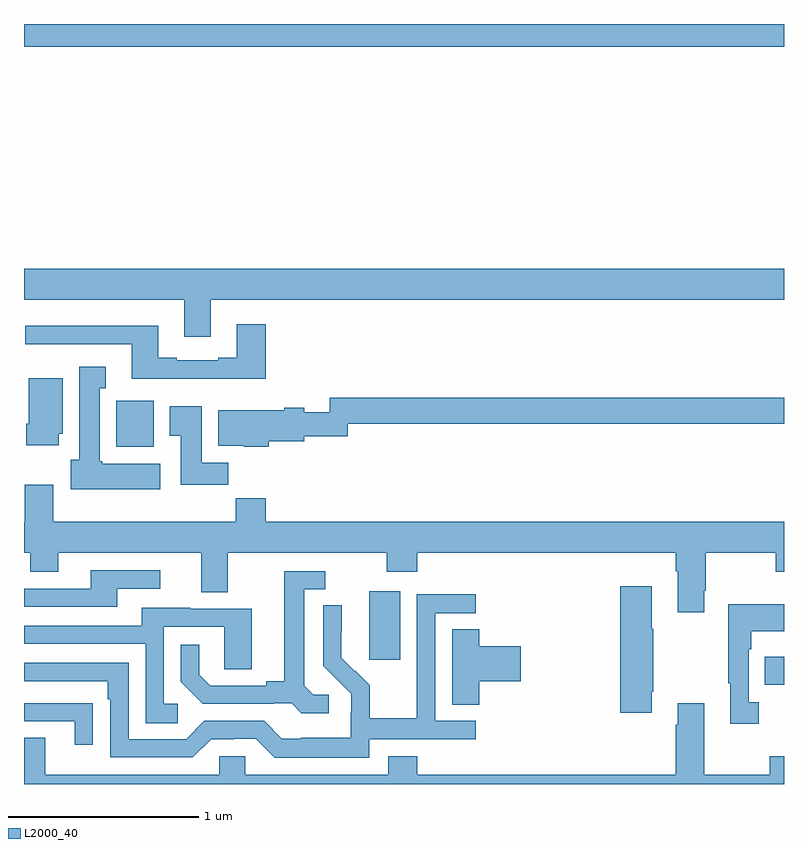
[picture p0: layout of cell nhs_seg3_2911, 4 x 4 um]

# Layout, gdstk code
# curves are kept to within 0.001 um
import gdstk
lib = gdstk.Library(unit=1e-6, precision=1e-09)
def R(c, l, rs):  # rectangles x0, y0, x1, y1
    for r in rs: c.add(gdstk.rectangle(r[:2], r[2:], *l))
def P(c, l, *ps):  # polygons
    for p in ps: c.add(gdstk.Polygon(p, *l))
L2000_40 = (2000, 40)

nhs_seg3_2911 = lib.new_cell('nhs_seg3_2911')
R(nhs_seg3_2911, L2000_40, [(266.899,666.922,267,667.069), (264.818,667.053,264.979,667.414), (263.486,668.174,263.683,668.416), (263,670.28,267,670.4)])
P(nhs_seg3_2911, L2000_40, [(263.983,668.948),(267,668.948),(267,669.112),(263,669.112),(263,668.948),(263.843,668.948),(263.843,668.754),(263.983,668.754)],
  [(264.272,668.821),(264.119,668.821),(264.119,668.644),(264.023,668.644),(264.023,668.631),(263.803,668.631),(263.803,668.644),(263.707,668.644),(263.707,668.812),(263.007,668.812),(263.007,668.715),(263.567,668.715),(263.567,668.534),(264.272,668.534)],
  [(263.716,668.086),(263.412,668.086),(263.412,668.1),(263.398,668.1),(263.398,668.483),(263.431,668.483),(263.431,668.596),(263.291,668.596),(263.291,668.106),(263.246,668.106),(263.246,667.952),(263.716,667.952)],
  [(263.182,668.244),(263.203,668.244),(263.203,668.536),(263.024,668.536),(263.024,668.296),(263.012,668.296),(263.012,668.184),(263.182,668.184)],
  [(264.287,668.203),(264.475,668.203),(264.475,668.229),(264.705,668.229),(264.705,668.296),(267,668.296),(267,668.432),(264.609,668.432),(264.609,668.357),(264.475,668.357),(264.475,668.381),(264.371,668.381),(264.371,668.368),(264.023,668.368),(264.023,668.18),(264.156,668.18),(264.156,668.174),(264.287,668.174)],
  [(264.074,668.092),(263.935,668.092),(263.935,668.389),(263.768,668.389),(263.768,668.233),(263.825,668.233),(263.825,667.974),(264.074,667.974)],
  [(266.581,667.417),(266.589,667.417),(266.589,667.616),(266.956,667.616),(266.956,667.517),(267,667.517),(267,667.78),(264.272,667.78),(264.272,667.904),(264.115,667.904),(264.115,667.78),(263.155,667.78),(263.155,667.975),(263.003,667.975),(263.003,667.78),(263,667.78),(263,667.616),(263.032,667.616),(263.032,667.517),(263.179,667.517),(263.179,667.616),(263.933,667.616),(263.933,667.408),(264.073,667.408),(264.073,667.616),(264.91,667.616),(264.91,667.517),(265.07,667.517),(265.07,667.616),(266.429,667.616),(266.429,667.52),(266.441,667.52),(266.441,667.305),(266.581,667.305)],
  [(263.491,667.428),(263.716,667.428),(263.716,667.524),(263.351,667.524),(263.351,667.428),(263,667.428),(263,667.332),(263.491,667.332)],
  [(264.604,666.87),(264.522,666.87),(264.475,666.917),(264.475,667.425),(264.586,667.425),(264.586,667.521),(264.371,667.521),(264.371,666.941),(264.275,666.941),(264.275,666.918),(263.98,666.918),(263.923,666.975),(263.923,667.132),(263.826,667.132),(263.826,666.938),(263.942,666.822),(264.314,666.822),(264.314,666.825),(264.408,666.825),(264.46,666.773),(264.604,666.773)],
  [(266.305,666.886),(266.313,666.886),(266.313,667.217),(266.305,667.217),(266.305,667.441),(266.138,667.441),(266.138,666.774),(266.305,666.774)],
  [(264.816,666.636),(265.378,666.636),(265.378,666.732),(265.164,666.732),(265.164,667.299),(265.378,667.299),(265.378,667.398),(265.068,667.398),(265.068,666.965),(265.066,666.965),(265.066,666.745),(264.821,666.745),(264.821,666.919),(264.744,666.996),(264.741,666.993),(264.671,667.064),(264.671,667.199),(264.673,667.199),(264.673,667.34),(264.576,667.34),(264.576,667.022),(264.722,666.874),(264.722,666.777),(264.72,666.777),(264.72,666.643),(264.457,666.643),(264.457,666.639),(264.357,666.639),(264.264,666.732),(263.949,666.732),(263.853,666.636),(263.55,666.636),(263.55,667.038),(263,667.038),(263,666.942),(263.441,666.942),(263.441,666.845),(263.454,666.845),(263.454,666.54),(263.889,666.54),(263.985,666.636),(264.104,666.636),(264.104,666.639),(264.219,666.639),(264.319,666.539),(264.816,666.539)],
  [(266.866,666.83),(266.814,666.83),(266.814,667.109),(266.827,667.109),(266.827,667.205),(267,667.205),(267,667.345),(266.706,667.345),(266.706,666.929),(266.717,666.929),(266.717,666.717),(266.866,666.717)],
  [(263.809,666.822),(263.736,666.822),(263.736,667.227),(264.054,667.227),(264.054,667.003),(264.199,667.003),(264.199,667.323),(263.875,667.323),(263.875,667.327),(263.621,667.327),(263.621,667.233),(263,667.233),(263,667.137),(263.64,667.137),(263.64,666.721),(263.809,666.721)],
  [(265.397,666.941),(265.615,666.941),(265.615,667.124),(265.397,667.124),(265.397,667.214),(265.253,667.214),(265.253,666.817),(265.397,666.817)],
  [(267,666.547),(266.926,666.547),(266.926,666.448),(266.581,666.448),(266.581,666.826),(266.441,666.826),(266.441,666.713),(266.429,666.713),(266.429,666.448),(265.07,666.448),(265.07,666.547),(264.917,666.547),(264.917,666.448),(264.165,666.448),(264.165,666.546),(264.027,666.546),(264.027,666.448),(263.113,666.448),(263.113,666.643),(263,666.643),(263,666.4),(267,666.4)],
  [(263.363,666.824),(263.261,666.824),(263.261,666.825),(263,666.825),(263,666.729),(263.267,666.729),(263.267,666.606),(263.363,666.606)])

lib.write_gds('nhs_seg3_2911.gds')
